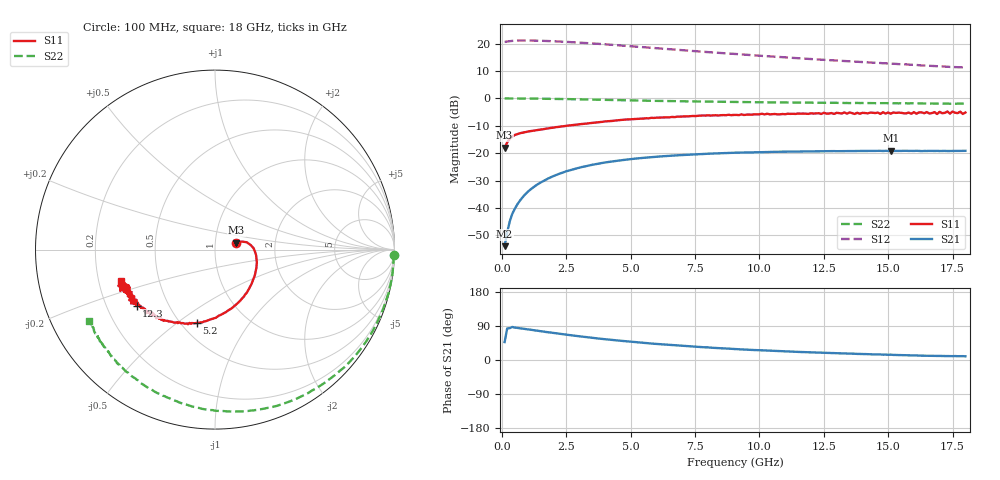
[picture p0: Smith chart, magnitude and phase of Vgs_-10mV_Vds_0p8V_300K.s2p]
#  HZ  S  DB  R  50.00
! Rohde & Schwarz ZVA50 4Ports - Version 4.11 - 1145.1110k52 SN: 100136
! Date: 2022-09-20 22:18:54
! Measurements: S11 S21 S12 S22
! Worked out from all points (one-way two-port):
!   180 points, 100 MHz to 18 GHz, reference 50 ohm
!   highest |S21| = -19.12 dB at 15.1 GHz (marker M1); lowest = -54.0 dB at 100 MHz (marker M2)
!   lowest |S11| = -18.0 dB at 100 MHz (marker M3), VSWR 1.29, Z = 63.3 + j4.91 ohm
!   |S11| at or under -10 dB: start of sweep to 2.496 GHz
!   |S22| runs from -2.0 to 0.0 dB; largest |S21 - S12| = 11
!   S11 on the Smith chart (normalised r, x): 100 MHz: 1.27, +0.10; 5.2 GHz: 0.60, -0.59; 12.3 GHz: 0.33, -0.29; 18 GHz: 0.29, -0.15
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1e8  -18.04 17.7  -53.97 47.3  20.62 -179.4  -0.02 -1.8
3e8  -14.78 12.9  -44.93 84.1  20.90 179.6  -0.03 -5.1
5e8  -13.34 2.1  -40.23 85.5  21.08 177.1  -0.01 -8.9
8e8  -12.51 -12.5  -36.09 82.9  21.17 173.6  -0.03 -14.0
1.1e9  -11.95 -24.2  -33.31 80.1  21.15 170.1  -0.06 -19.3
1.5e9  -11.40 -37.5  -30.72 76.0  21.06 165.7  -0.09 -26.1
2.1e9  -10.48 -54.0  -27.97 70.6  20.83 159.6  -0.17 -36.1
2.5e9  -9.99 -63.3  -26.61 66.9  20.64 155.7  -0.23 -42.4
3.1e9  -9.35 -74.5  -25.06 61.8  20.32 150.5  -0.35 -51.2
4e9  -8.41 -89.3  -23.40 55.0  19.76 142.9  -0.51 -64.0
4.6e9  -7.90 -97.5  -22.62 50.8  19.34 138.5  -0.64 -71.7
5.2e9  -7.51 -104.1  -21.97 46.9  18.91 134.5  -0.75 -78.6
6.1e9  -7.01 -112.4  -21.22 41.8  18.27 129.1  -0.91 -88.0
7.6e9  -6.36 -124.5  -20.41 34.7  17.18 121.2  -1.14 -101.7
9.1e9  -6.02 -131.7  -19.82 28.8  16.22 115.0  -1.31 -112.6
1e10  -5.80 -138.0  -19.65 25.7  15.60 111.4  -1.40 -118.8
1.21e10  -5.54 -144.7  -19.33 19.8  14.32 104.8  -1.58 -129.7
1.23e10  -5.40 -144.4  -19.31 19.6  14.22 104.4  -1.58 -130.4
1.34e10  -5.56 -149.4  -19.22 17.1  13.60 101.1  -1.67 -135.4
1.51e10  -5.59 -151.2  -19.12 14.0  12.77 97.4  -1.73 -141.4
1.58e10  -5.16 -155.8  -19.18 12.4  12.35 95.1  -1.81 -144.9
1.8e10  -5.14 -161.9  -19.13 9.8  11.33 91.5  -1.90 -150.5
